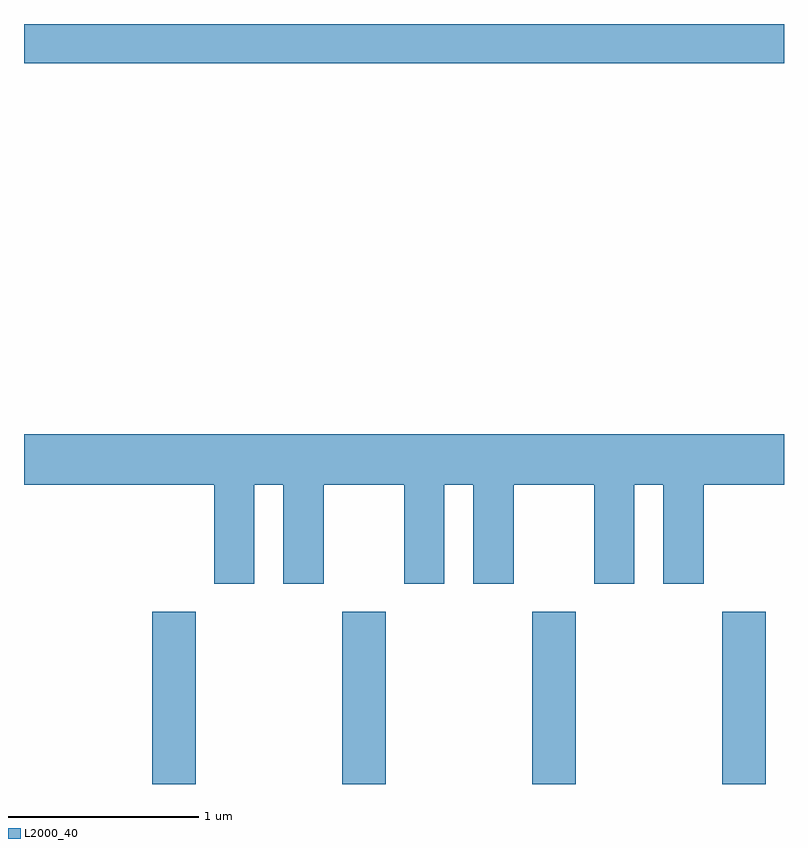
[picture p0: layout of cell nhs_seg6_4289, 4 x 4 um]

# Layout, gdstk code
import gdstk
lib = gdstk.Library(unit=1e-6, precision=1e-09)
def R(c, l, rs):  # rectangles x0, y0, x1, y1
    for r in rs: c.add(gdstk.rectangle(r[:2], r[2:], *l))
def A(c, l, x, y, w, h, nx, ny, dx, dy):  # array of equal rectangles
    R(c, l, [(x+i*dx, y+j*dy, x+i*dx+w, y+j*dy+h) for i in range(nx) for j in range(ny)])
def P(c, l, *ps):  # polygons
    for p in ps: c.add(gdstk.Polygon(p, *l))
L2000_40 = (2000, 40)

nhs_seg6_4289 = lib.new_cell('nhs_seg6_4289')
A(nhs_seg6_4289, L2000_40, 316.286, 1626.162, 0.228, 0.907, 4, 1, 1, 0)
R(nhs_seg6_4289, L2000_40, [(315.611,1629.956,319.611,1630.162)])
P(nhs_seg6_4289, L2000_40, [(315.611,1627.736),(316.611,1627.736),(316.611,1627.216),(316.824,1627.216),(316.824,1627.736),(316.976,1627.736),(316.976,1627.216),(317.189,1627.216),(317.189,1627.736),(317.611,1627.736),(317.611,1627.216),(317.824,1627.216),(317.824,1627.736),(317.976,1627.736),(317.976,1627.216),(318.189,1627.216),(318.189,1627.736),(318.611,1627.736),(318.611,1627.216),(318.824,1627.216),(318.824,1627.736),(318.976,1627.736),(318.976,1627.216),(319.189,1627.216),(319.189,1627.736),(319.611,1627.736),(319.611,1628.004),(315.611,1628.004)])

lib.write_gds('nhs_seg6_4289.gds')
